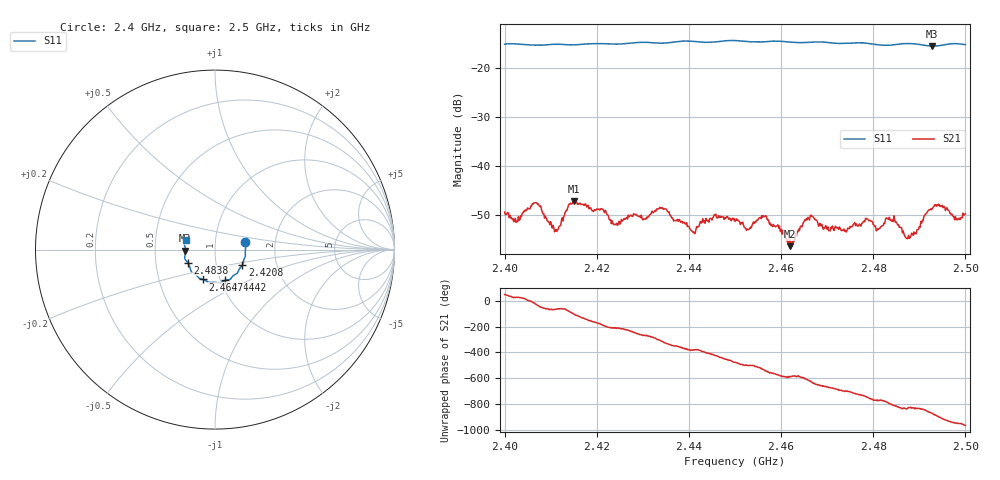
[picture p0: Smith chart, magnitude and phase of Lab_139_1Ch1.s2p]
# Hz S RI R 50
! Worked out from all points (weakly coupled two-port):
!   601 points, 2.4 GHz to 2.5 GHz, reference 50 ohm
!   highest |S21| = -47.21 dB at 2.415 GHz (marker M1); lowest = -56.4 dB at 2.4618 GHz (marker M2)
!   lowest |S11| = -15.6 dB at 2.4928 GHz (marker M3), VSWR 1.40, Z = 35.8 - j0.379 ohm
!   |S11| at or under -10 dB: start of sweep to end of sweep
!   S12 and S22 are empty: the file has one direction only
!   S11 on the Smith chart (normalised r, x): 2.4 GHz: 1.40, +0.12; 2.4208 GHz: 1.33, -0.24; 2.4442 GHz: 1.05, -0.37; 2.4647 GHz: 0.83, -0.29; 2.4838 GHz: 0.73, -0.11; 2.5 GHz: 0.72, +0.08
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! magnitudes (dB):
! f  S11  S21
! 2.4 GHz  -15.2  -49.5
! 2.4023 GHz  -15.2  -50.8
! 2.4068 GHz  -15.4  -47.6
! 2.4112 GHz  -15.3  -53.0
! 2.415 GHz  -15.4  -47.2
! 2.4167 GHz  -15.3  -47.9
! 2.4208 GHz  -15.1  -48.8
! 2.4242 GHz  -15.2  -52.1
! 2.4333 GHz  -15.0  -48.9
! 2.4408 GHz  -14.6  -53.6
! 2.4442 GHz  -14.9  -51.2
! 2.45 GHz  -14.5  -51.3
! 2.4563 GHz  -14.7  -50.3
! 2.4618 GHz  -14.8  -56.4
! 2.4647 GHz  -14.9  -52.1
! 2.4667 GHz  -14.8  -50.3
! 2.4737 GHz  -15.1  -52.9
! 2.4833 GHz  -15.5  -51.0
! 2.4838 GHz  -15.4  -51.0
! 2.4877 GHz  -15.1  -54.2
! 2.4928 GHz  -15.6  -48.7
! 2.5 GHz  -15.3  -49.9
